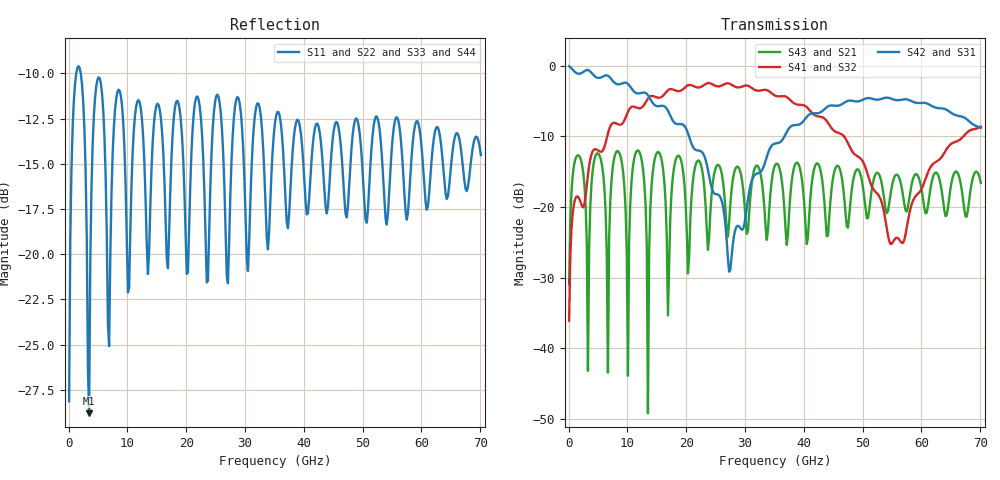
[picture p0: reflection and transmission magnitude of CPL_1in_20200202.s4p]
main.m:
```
%% Basic Information
% Overview
% Transmission-line parameters extractor
% MATLAB implementation of Patent US8892414B1
% Author Name: Guorui Wei
% Instructor Name: Bin Xia
% Created in: 2020-03-15 12:45

clc; clear; close all;

%% Import data

linelength = 0.0254; % Line Length(meters)

% Simulate data
filename_2line = 'data/CPL_1in_20200202.s4p';
SingleEnded4PortData = read(rfdata.data,filename_2line);
freq = SingleEnded4PortData.Freq;
freqPts = length(freq);
z0 = SingleEnded4PortData.Z0; % Reference Impedance
SingleEnded4PortData.S_Parameters = snp2smp(SingleEnded4PortData.S_Parameters,...
    z0,[1 2 3 4]); % Classic style
numOfLines = size(SingleEnded4PortData.S_Parameters,1)/2;
S_params_SI = sparameters(SingleEnded4PortData);

% Cadence-PowerSI-extracted params
filename_PowerSI = 'data/CPL_1in_20200202_PowerSI.csv';
opts = detectImportOptions(filename_PowerSI);
rlgc_PowerSI_mat = readtable(filename_PowerSI);
for freqIdx = 1:freqPts
    rlgc_PowerSI.R(1,1,freqIdx) = rlgc_PowerSI_mat{4*freqIdx-3,3}/linelength;
    rlgc_PowerSI.R(1,2,freqIdx) = rlgc_PowerSI_mat{4*freqIdx-3,4}/linelength;
    rlgc_PowerSI.R(2,1,freqIdx) = rlgc_PowerSI_mat{4*freqIdx-3,4}/linelength;
    rlgc_PowerSI.R(2,2,freqIdx) = rlgc_PowerSI_mat{4*freqIdx-3,5}/linelength;
    rlgc_PowerSI.L(1,1,freqIdx) = rlgc_PowerSI_mat{4*freqIdx-2,3}/linelength;
    rlgc_PowerSI.L(1,2,freqIdx) = rlgc_PowerSI_mat{4*freqIdx-2,4}/linelength;
    rlgc_PowerSI.L(2,1,freqIdx) = rlgc_PowerSI_mat{4*freqIdx-2,4}/linelength;
    rlgc_PowerSI.L(2,2,freqIdx) = rlgc_PowerSI_mat{4*freqIdx-2,5}/linelength;    
    rlgc_PowerSI.G(1,1,freqIdx) = rlgc_PowerSI_mat{4*freqIdx-1,3}/linelength;
    rlgc_PowerSI.G(1,2,freqIdx) = rlgc_PowerSI_mat{4*freqIdx-1,4}/linelength;
    rlgc_PowerSI.G(2,1,freqIdx) = rlgc_PowerSI_mat{4*freqIdx-1,4}/linelength;
    rlgc_PowerSI.G(2,2,freqIdx) = rlgc_PowerSI_mat{4*freqIdx-1,5}/linelength;
    rlgc_PowerSI.C(1,1,freqIdx) = rlgc_PowerSI_mat{4*freqIdx-0,3}/linelength;
    rlgc_PowerSI.C(1,2,freqIdx) = rlgc_PowerSI_mat{4*freqIdx-0,4}/linelength;
    rlgc_PowerSI.C(2,1,freqIdx) = rlgc_PowerSI_mat{4*freqIdx-0,4}/linelength;
    rlgc_PowerSI.C(2,2,freqIdx) = rlgc_PowerSI_mat{4*freqIdx-0,5}/linelength;
end


%%
rlgc_t = s2rlgc_t(SingleEnded4PortData.S_Parameters,linelength,freq,z0);

figure('Name','R matrix')
sgtitle('p.u.l Resistence')
```
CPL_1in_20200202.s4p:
! www.PolarInstruments.com
! File Export V10.11 [9.03]
! For hxji@mail.xidian.edu.cn;QQ=47399897
! File : D:\SJTU\Bachelor\thesis\Multi-line\transmission-line-params-extractor\data\CPL_1in_20200202.s4p
! Polar  PCB Transmission Line Field Solver  v11.04.00
# MHz S RI R 50.00
! Line Length = 0.025m ( 1.00 inch )
!  PORT NUMBERING (Classic style)
!  PORT#  PORT#
!  Z1 = Z2 = 50.00  Z3 = Z4 = 50.00
!  1 --|  |-- 3
!  2 --|  |-- 4
! FREQ MHz  S11  S12  S13  S14
!  S21  S22  S23  S24
!  S31  S32  S33  S34
!  S41  S42  S43  S44
!  REAL  IMAG  REAL  IMAG  REAL  IMAG  REAL  IMAG
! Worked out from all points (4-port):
!   351 points, 100 MHz to 70.1 GHz, reference 50 ohm
!   strongest paths, dB at 100 MHz, 17.5 GHz, 35.1 GHz, 52.7 GHz, 70.1 GHz:
!     S42: 0.0, -7.4, -11.0, -4.8, -8.8
!     S31: 0.0, -7.4, -11.0, -4.8, -8.8
!     S41: -36.1, -3.3, -4.2, -18.3, -8.6
!     S32: -36.1, -3.3, -4.2, -18.3, -8.6
!     S43: -30.9, -18.1, -14.1, -15.3, -16.6
!     S21: -30.9, -18.1, -14.1, -15.3, -16.6
!   lowest |S11| = -28.8 dB at 3.5 GHz (marker M1), VSWR 1.08, Z = 52.7 + j2.58 ohm
!   |S11| at or under -10 dB: start of sweep to 1.319 GHz; 2.072 GHz to end of sweep
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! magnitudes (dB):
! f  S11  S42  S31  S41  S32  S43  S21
! 100 MHz  -28.1  0.0  0.0  -36.1  -36.1  -30.9  -30.9
! 3.5 GHz  -28.8  -0.7  -0.7  -14.2  -14.2  -25.9  -25.9
! 70.1 GHz  -14.5  -8.8  -8.8  -8.6  -8.6  -16.6  -16.6
